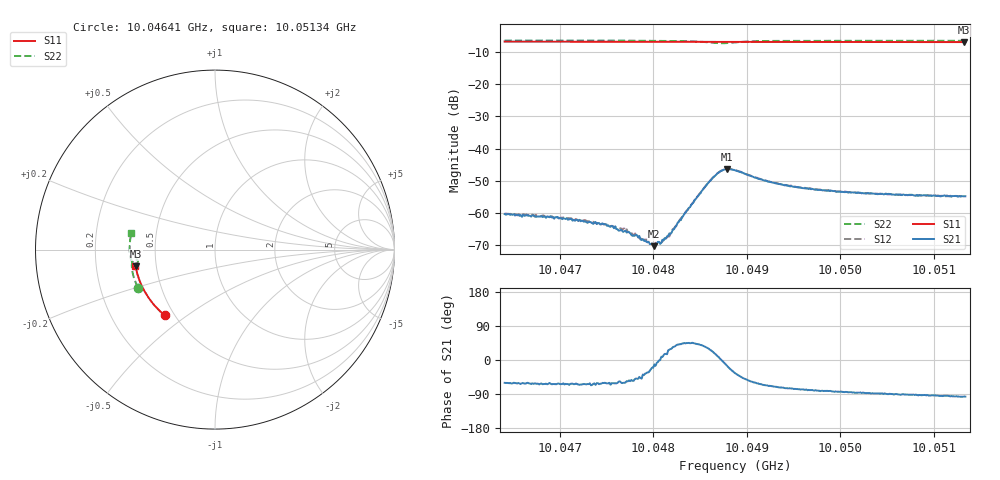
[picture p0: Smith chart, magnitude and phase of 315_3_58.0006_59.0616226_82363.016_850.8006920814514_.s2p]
#  HZ  S  RI  R  50.00
! Rohde & Schwarz Vector Network Analyzer
! Rohde-Schwarz,ZNB20-2Port,1311601062101988,3.16
! Created: UTC 3/21/2024, 1:04:22 AM
! freq[Hz]  re:S11  im:S11  re:S21  im:S21  re:S12  im:S12  re:S22  im:S22
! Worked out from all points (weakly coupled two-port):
!   401 points, 10.04641 GHz to 10.05134 GHz, reference 50 ohm
!   highest |S21| = -46.41 dB at 10.04879 GHz (marker M1); lowest = -70.4 dB at 10.04801 GHz (marker M2)
!   lowest |S11| = -6.9 dB at 10.05133 GHz (marker M3), VSWR 2.65, Z = 19 - j4.45 ohm
!   |S11| at or under -10 dB: nowhere
!   |S22| runs from -7.2 to -6.4 dB; largest |S21 - S12| = 0.00032
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1.0046407e10  -0.2807 -0.366  0.000475 -0.000831  0.000505 -0.000798  -0.4308 -0.2116
1.0046888e10  -0.3047 -0.3449  0.000418 -0.000744  0.000421 -0.000752  -0.4431 -0.1818
1.0047233e10  -0.3207 -0.3288  0.000331 -0.000683  0.000374 -0.000671  -0.4509 -0.1593
1.0047468e10  -0.3313 -0.3176  0.000323 -0.000578  0.000336 -0.000569  -0.4555 -0.1438
1.0047665e10  -0.3399 -0.3077  0.000256 -0.000461  0.000331 -0.000424  -0.4588 -0.1301
1.0047825e10  -0.3467 -0.2995  0.000292 -0.000341  0.000313 -0.000312  -0.4611 -0.1186
1.0047887e10  -0.3493 -0.2963  0.000305 -0.000241  0.000335 -0.000247  -0.462 -0.114
1.004801e10  -0.3543 -0.2899  0.000296 -6.12e-05  0.00032 -6e-05  -0.4631 -0.1047
1.004806e10  -0.3562 -0.2872  0.000354 -7.73e-06  0.000341 1.51e-05  -0.4635 -0.1007
1.0048097e10  -0.3578 -0.2854  0.000376 5.43e-05  0.000354 5.22e-05  -0.4634 -0.0978
1.0048171e10  -0.3607 -0.2815  0.000424 0.000219  0.000377 0.000203  -0.4638 -0.0915
1.0048319e10  -0.3663 -0.2735  0.000646 0.000615  0.000608 0.000677  -0.4624 -0.0786
1.0048615e10  -0.3771 -0.2573  0.00289 0.00139  0.00285 0.00158  -0.442 -0.0551
1.0048701e10  -0.3799 -0.2525  0.00422 0.000525  0.00422 0.00078  -0.4314 -0.0598
1.0048787e10  -0.3827 -0.2479  0.00461 -0.00125  0.00473 -0.000978  -0.4307 -0.0719
1.0048874e10  -0.3857 -0.2432  0.00378 -0.00261  0.00399 -0.00238  -0.4411 -0.0781
1.0049256e10  -0.3983 -0.2212  0.00109 -0.0028  0.00127 -0.00273  -0.4691 -0.0514
1.00497e10  -0.411 -0.1949  0.000439 -0.00232  0.000531 -0.00227  -0.475 -0.0166
1.0049984e10  -0.4183 -0.1778  0.000238 -0.00211  0.000365 -0.00212  -0.4756 0.00394
1.0050527e10  -0.43 -0.1441  2.66e-05 -0.00196  0.000144 -0.00194  -0.474 0.0412
1.0051328e10  -0.4428 -0.0931  -0.000202 -0.0018  -0.000108 -0.00182  -0.4659 0.0943
1.0051341e10  -0.4429 -0.0924  -0.000208 -0.0018  -9.68e-05 -0.00179  -0.4657 0.0951
